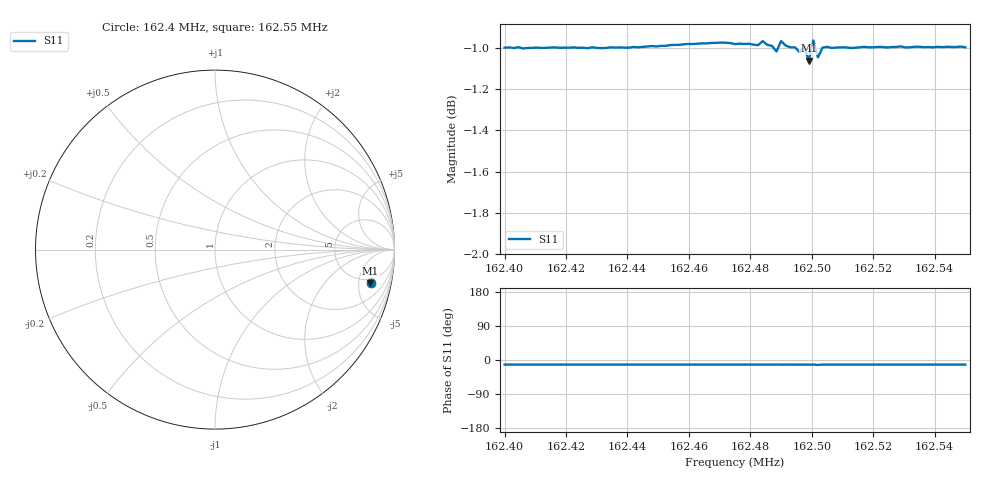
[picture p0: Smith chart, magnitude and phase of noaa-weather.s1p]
! Calibrated averaged scanner-service zoom
# Hz S RI R 50
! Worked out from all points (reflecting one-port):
!   101 points, 162.4 MHz to 162.55 MHz, reference 50 ohm
!   lowest |S11| = -1.1 dB at 162.499 MHz (marker M1), VSWR 16.40, Z = 202 - j350 ohm
!   phase of S11 starts at -12 deg and turns -0 deg over the sweep
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1.624e8  0.8717 -0.1869
1.624045e8  0.8719 -0.187
1.62406e8  0.8713 -0.1869
1.624195e8  0.8717 -0.187
1.624375e8  0.8718 -0.1872
1.62457e8  0.873 -0.1876
1.624705e8  0.8741 -0.1876
1.62475e8  0.8734 -0.1876
1.624795e8  0.8735 -0.1876
1.624825e8  0.8728 -0.1874
1.62484e8  0.8746 -0.1891
1.624855e8  0.873 -0.1875
1.62487e8  0.8723 -0.1888
1.624885e8  0.8702 -0.1849
1.6249e8  0.8742 -0.1908
1.624915e8  0.8727 -0.1874
1.62493e8  0.8718 -0.1872
1.624945e8  0.8718 -0.1872
1.62496e8  0.8689 -0.1894
1.624975e8  0.8719 -0.1872
1.62499e8  0.8648 -0.1883
1.625005e8  0.8752 -0.1878
1.62502e8  0.8638 -0.2
1.625035e8  0.8717 -0.187
1.625125e8  0.8716 -0.1871
1.62529e8  0.8723 -0.1871
1.62532e8  0.8718 -0.1872
1.6255e8  0.8718 -0.1872
